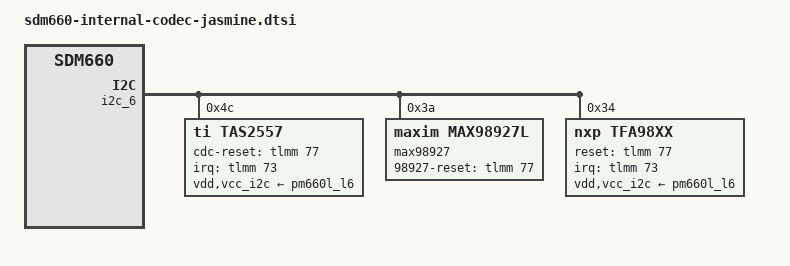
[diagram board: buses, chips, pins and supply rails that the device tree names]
&int_codec {
	qcom,wsa-disable;
};

&i2c_6 { /* SmartPA TI */
	status = "okay";
	tas2557@4c {
		compatible = "ti,tas2557";
		reg = <0x4c>;
		#ti,load = <0>;   /* 0, 8Ohm; 1, 6Ohm; 2, 4Ohm */
		#ti,channel = <0>;   /* 0, left channel; 1, right channel */
		i2c-pull-up;
		vdd-supply = <&pm660l_l6>;
		vcc_i2c-supply = <&pm660l_l6>;
		ti,cdc-reset-gpio = <&tlmm 77 0>;
		ti,irq-gpio = <&tlmm 73 0>;
		ti,i2s-bits = <16>;
		status = "ok";
	};

	max98927@3a {
		compatible = "maxim,max98927L";
		status = "okay";
		reg = <0x3a>;
		mono_stereo_mode = <0>;
		interleave_mode = <0>;
		maxim,98927-reset-gpio = <&tlmm 77 0>;
	};

	tfa98xx@34 {
		compatible = "nxp,tfa98xx";
		reg = <0x34>;
		i2c-pull-up;
		vdd-supply = <&pm660l_l6>;
		vcc_i2c-supply = <&pm660l_l6>;
		reset-gpio = <&tlmm 77 0>;
		irq-gpio = <&tlmm 73 0>;
		status = "ok";
	};
};
